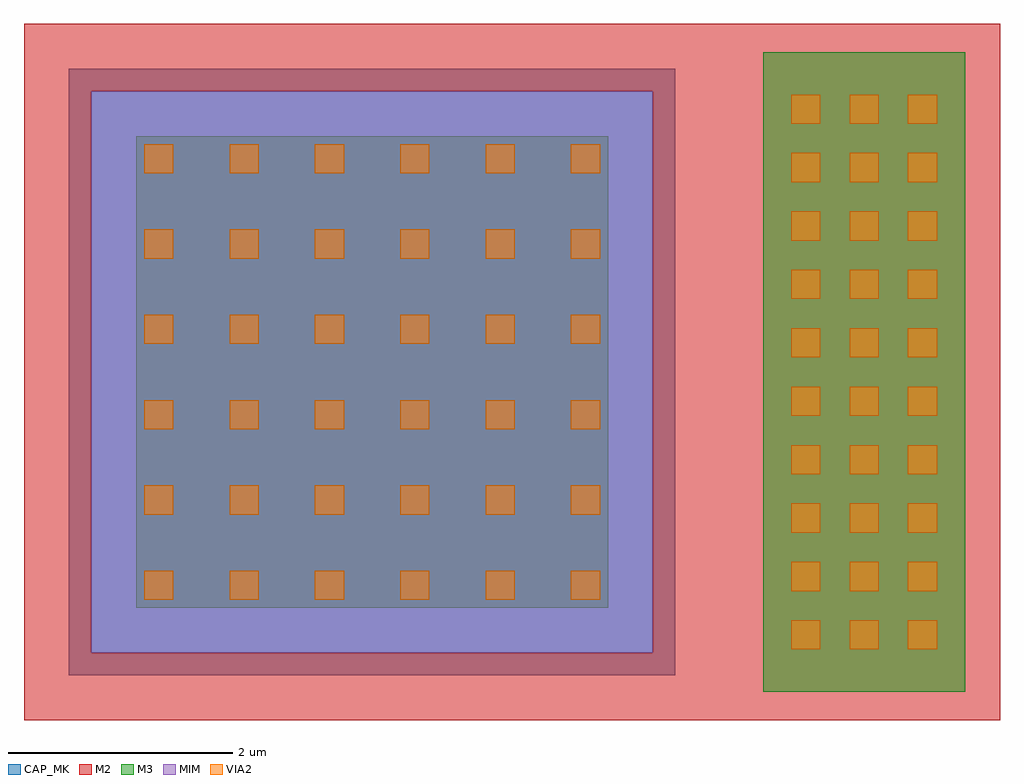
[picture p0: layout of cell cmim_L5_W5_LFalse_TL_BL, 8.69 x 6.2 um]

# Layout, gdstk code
import gdstk
lib = gdstk.Library(unit=1e-6, precision=1e-09)
def R(c, l, rs):  # rectangles x0, y0, x1, y1
    for r in rs: c.add(gdstk.rectangle(r[:2], r[2:], *l))
CAP_MK = (15, 0)
MIM = (42, 0)
VIA2 = (43, 0)
M2 = (45, 0)
M3 = (49, 0)

rectangle_gdsfactorypcom = lib.new_cell('rectangle_gdsfactorypcomponentspshapesprectangle_S0p26__7fa59ffd')
R(rectangle_gdsfactorypcom, VIA2, [(0,0,0.26,0.26)])

cmim_l5_w5_lfalse_tl_bl = lib.new_cell('cmim_L5_W5_LFalse_TL_BL')
R(cmim_l5_w5_lfalse_tl_bl, CAP_MK, [(-3.945,-2.7,1.455,2.7)])
R(cmim_l5_w5_lfalse_tl_bl, MIM, [(-3.745,-2.5,1.255,2.5)])
R(cmim_l5_w5_lfalse_tl_bl, M2, [(-4.345,-3.1,4.345,-2.5), (-4.345,-2.5,-3.745,2.5), (1.255,-2.5,4.345,2.5), (-4.345,2.5,4.345,3.1)])
R(cmim_l5_w5_lfalse_tl_bl, M3, [(2.235,-2.845,4.035,2.845), (-3.345,-2.1,0.855,2.1)])
r = gdstk.Reference(rectangle_gdsfactorypcom, (-3.275,-2.03)); r.repetition = gdstk.Repetition(6, 6, v1=(0.76,0), v2=(0,0.76)); cmim_l5_w5_lfalse_tl_bl.add(r)
r = gdstk.Reference(rectangle_gdsfactorypcom, (2.485,-2.47)); r.repetition = gdstk.Repetition(3, 10, v1=(0.52,0), v2=(0,0.52)); cmim_l5_w5_lfalse_tl_bl.add(r)

lib.write_gds('cmim_L5_W5_LFalse_TL_BL.gds')
